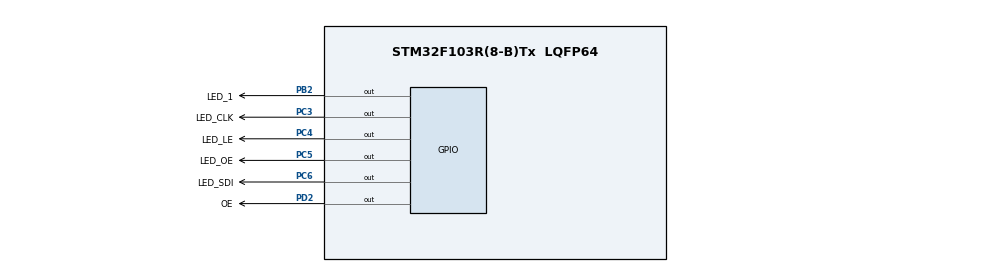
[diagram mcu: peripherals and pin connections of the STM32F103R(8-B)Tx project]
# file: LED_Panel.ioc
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Mcu.Family=STM32F1
Mcu.Name=STM32F103R(8-B)Tx
Mcu.Package=LQFP64
NVIC.PriorityGroup=NVIC_PRIORITYGROUP_4
PA13.Mode=Serial_Wire
PA13.Signal=SYS_JTMS-SWDIO
PA14.Mode=Serial_Wire
PA14.Signal=SYS_JTCK-SWCLK
PB2.GPIO_Label=LED_1
PB2.Signal=GPIO_Output
PC3.GPIO_Label=LED_CLK
PC3.Signal=GPIO_Output
PC4.GPIO_Label=LED_LE
PC4.Signal=GPIO_Output
PC5.GPIO_Label=LED_OE
PC5.Signal=GPIO_Output
PC6.GPIO_Label=LED_SDI
PC6.Signal=GPIO_Output
PD2.GPIO_Label=OE
PD2.Signal=GPIO_Output
ProjectManager.HeapSize=0x200
ProjectManager.StackSize=0x400
ProjectManager.TargetToolchain=STM32CubeIDE
RCC.APB1Freq_Value=8000000
RCC.APB2Freq_Value=8000000
TIM3.Period=9
TIM3.Prescaler=7999
VP_TIM3_VS_ClockSourceINT.Mode=Internal
board=custom

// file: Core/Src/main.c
/* USER CODE BEGIN Header */
/**
  ******************************************************************************
  * @file           : main.c
  * @brief          : Main program body
  ******************************************************************************
  * @attention
  *
  * Copyright (c) 2022 STMicroelectronics.
  * All rights reserved.
  *
  * This software is licensed under terms that can be found in the LICENSE file
  * in the root directory of this software component.
  * If no LICENSE file comes with this software, it is provided AS-IS.
  *
  ******************************************************************************
  */
/* USER CODE END Header */
#include "main.h"
#include "tim.h"
#include "gpio.h"

/* USER CODE BEGIN PD */
#define NUM_OF_LEDS		20
/* USER CODE END PD */

/* USER CODE BEGIN PV */
static uint8_t Led_Buffer[NUM_OF_LEDS] = {
		0, 0, 0, 0, 0,
		0, 0, 0, 0, 0,
		0, 0, 0, 0, 0,
		0, 0, 0, 0, 0
};

static uint8_t Sec_Counter = 0;
/* USER CODE END PV */

void SystemClock_Config(void);
/* USER CODE BEGIN PFP */
static void Latch_Enable(uint8_t);
static void Latch_Disable(uint8_t);
static void Output_Enable(void);
static void Clock_On(uint8_t);
static void Clock_Off(uint8_t);
static void Data_Out(GPIO_PinState);
uint8_t Get_Bit_Value(uint32_t data, uint8_t index);
void Turn_Led_On(uint8_t num);
void Turn_Led_Off(uint8_t num);
void Clear_All_Led(void);
void Toggle_Every_Led(void);
void Led_Display(void);
/* USER CODE END PFP */

/* USER CODE BEGIN 0 */
static void Latch_Enable(uint8_t count) {
	if(count <= 0) return;
	while(count-- != 0) {
		HAL_GPIO_WritePin(LED_LE_GPIO_Port, LED_LE_Pin, GPIO_PIN_RESET);
	}
}
static void Latch_Disable(uint8_t count) {
	if(count <= 0) return;
	while(count-- != 0) {
		HAL_GPIO_WritePin(LED_LE_GPIO_Port, LED_LE_Pin, GPIO_PIN_SET);
	}
}
static void Output_Enable(void) {
	HAL_GPIO_WritePin(LED_OE_GPIO_Port, LED_OE_Pin, GPIO_PIN_SET);
}
static void Clock_On(uint8_t count) {
	if(count <= 0) return;
	while(count-- != 0) {
		HAL_GPIO_WritePin(LED_CLK_GPIO_Port, LED_CLK_Pin, GPIO_PIN_RESET);
	}

}
static void Clock_Off(uint8_t count) {
	if(count <= 0) return;
	while(count-- != 0) {
		HAL_GPIO_WritePin(LED_CLK_GPIO_Port, LED_CLK_Pin, GPIO_PIN_SET);
	}
}
static void Data_Out(GPIO_PinState state) {
	HAL_GPIO_WritePin(LED_SDI_GPIO_Port, LED_SDI_Pin, state);
}
uint8_t Get_Bit_Value(uint32_t data, uint8_t index) {
	data = (data >> index) & 0x01;
	return data;
}
void Turn_Led_On(uint8_t num) {
	Led_Buffer[num] = 0x01;
}
void Turn_Led_Off(uint8_t num) {
	Led_Buffer[num] = 0x00;
}
void Clear_All_Led(void) {
	uint8_t i = 0;
	for(; i < NUM_OF_LEDS; i++) {
		Turn_Led_Off(i);
	}
}
void Toggle_Every_Led(void) {
	if(Sec_Counter == 0) {
		Turn_Led_Off(NUM_OF_LEDS - 1);
	}
	else {
		Turn_Led_Off(Sec_Counter - 1);
	}
	Turn_Led_On(Sec_Counter);
	Sec_Counter = (Sec_Counter + 1) % NUM_OF_LEDS;
}

void Led_Display(void) {
	uint8_t i;
	Latch_Disable(1);
	for(i = 0; i < NUM_OF_LEDS; i++) {
		Clock_Off(1);
		Data_Out(Led_Buffer[i]);
		Clock_On(10);
	}
	Latch_Enable(1);
}
/* USER CODE END 0 */

int main(void)
{

  /* MCU Configuration--------------------------------------------------------*/

  /* Reset of all peripherals, Initializes the Flash interface and the Systick. */
  HAL_Init();

  /* Configure the system clock */
  SystemClock_Config();

  /* Initialize all configured peripherals */
  MX_GPIO_Init();
  MX_TIM3_Init();
  /* USER CODE BEGIN 2 */
  HAL_TIM_Base_Start_IT(&htim3);
  Output_Enable();
  HAL_GPIO_WritePin(OE_GPIO_Port, OE_Pin, GPIO_PIN_RESET);
  /* USER CODE END 2 */

  /* Infinite loop */
  /* USER CODE BEGIN WHILE */
  while (1)
  {
	  Toggle_Every_Led();
	  Led_Display();
	  HAL_Delay(500);
    /* USER CODE END WHILE */

  }
}

void SystemClock_Config(void)
{
  RCC_OscInitTypeDef RCC_OscInitStruct = {0};
  RCC_ClkInitTypeDef RCC_ClkInitStruct = {0};

  /** Initializes the RCC Oscillators according to the specified parameters
  * in the RCC_OscInitTypeDef structure.
  */
  RCC_OscInitStruct.OscillatorType = RCC_OSCILLATORTYPE_HSI;
  RCC_OscInitStruct.HSIState = RCC_HSI_ON;
  RCC_OscInitStruct.HSICalibrationValue = RCC_HSICALIBRATION_DEFAULT;
  RCC_OscInitStruct.PLL.PLLState = RCC_PLL_NONE;
  if (HAL_RCC_OscConfig(&RCC_OscInitStruct) != HAL_OK)
  {
    Error_Handler();
  }

  /** Initializes the CPU, AHB and APB buses clocks
  */
  RCC_ClkInitStruct.ClockType = RCC_CLOCKTYPE_HCLK|RCC_CLOCKTYPE_SYSCLK
                              |RCC_CLOCKTYPE_PCLK1|RCC_CLOCKTYPE_PCLK2;
  RCC_ClkInitStruct.SYSCLKSource = RCC_SYSCLKSOURCE_HSI;
  RCC_ClkInitStruct.AHBCLKDivider = RCC_SYSCLK_DIV1;
  RCC_ClkInitStruct.APB1CLKDivider = RCC_HCLK_DIV1;
  RCC_ClkInitStruct.APB2CLKDivider = RCC_HCLK_DIV1;

  if (HAL_RCC_ClockConfig(&RCC_ClkInitStruct, FLASH_LATENCY_0) != HAL_OK)
  {
    Error_Handler();
  }
}

void Error_Handler(void)
{
  __disable_irq();
  while (1)
  {
  }
}
